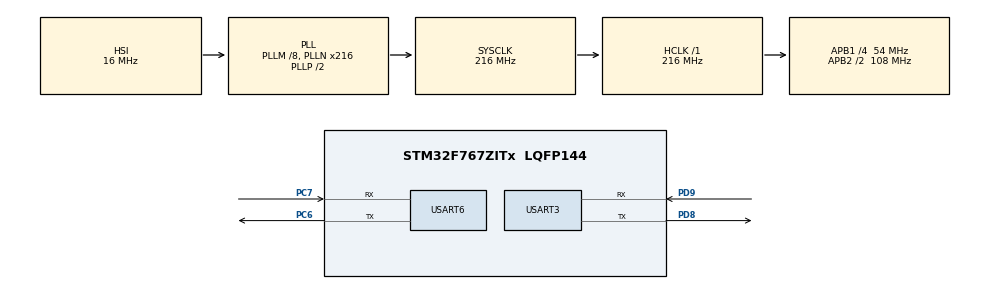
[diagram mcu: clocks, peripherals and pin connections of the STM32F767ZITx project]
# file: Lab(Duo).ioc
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CORTEX_M7.default_mode_Activation=1
Mcu.Family=STM32F7
Mcu.Name=STM32F767ZITx
Mcu.Package=LQFP144
NVIC.PriorityGroup=NVIC_PRIORITYGROUP_4
NVIC.USART3_IRQn=true\:1\:0\:true\:false\:true\:true\:true\:true
NVIC.USART6_IRQn=true\:1\:0\:true\:false\:true\:true\:true\:true
PC6.Mode=Asynchronous
PC6.Signal=USART6_TX
PC7.Mode=Asynchronous
PC7.Signal=USART6_RX
PD8.Mode=Asynchronous
PD8.Signal=USART3_TX
PD9.Mode=Asynchronous
PD9.Signal=USART3_RX
ProjectManager.HeapSize=0x200
ProjectManager.StackSize=0x400
ProjectManager.TargetToolchain=STM32CubeIDE
RCC.AHBFreq_Value=216000000
RCC.APB1CLKDivider=RCC_HCLK_DIV4
RCC.APB1Freq_Value=54000000
RCC.APB1TimFreq_Value=108000000
RCC.APB2CLKDivider=RCC_HCLK_DIV2
RCC.APB2Freq_Value=108000000
RCC.APB2TimFreq_Value=216000000
RCC.CortexFreq_Value=216000000
RCC.HCLKFreq_Value=216000000
RCC.HSE_VALUE=25000000
RCC.HSI_VALUE=16000000
RCC.LSE_VALUE=32768
RCC.PLLM=8
RCC.PLLN=216
RCC.SYSCLKFreq_VALUE=216000000
RCC.SYSCLKSource=RCC_SYSCLKSOURCE_PLLCLK
RCC.USBFreq_Value=216000000
RCC.VCOOutputFreq_Value=432000000
USART3.VirtualMode-Asynchronous=VM_ASYNC
USART6.VirtualMode-Asynchronous=VM_ASYNC
board=custom

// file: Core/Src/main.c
/* USER CODE BEGIN Header */
/**
  ******************************************************************************
  * @file           : main.c
  * @brief          : Main program body
  ******************************************************************************
  * @attention
  *
  * Copyright (c) 2026 STMicroelectronics.
  * All rights reserved.
  *
  * This software is licensed under terms that can be found in the LICENSE file
  * in the root directory of this software component.
  * If no LICENSE file comes with this software, it is provided AS-IS.
  *
  ******************************************************************************
  */
/* USER CODE END Header */
#include "main.h"
#include "usart.h"
#include "gpio.h"

/* USER CODE BEGIN Includes */
#include "string.h"
#include "stdio.h"
/* USER CODE END Includes */

/* USER CODE BEGIN PD */
#define IS_UART1 0

#define BUF_SIZE 128
#define NAME_SIZE 32
/* USER CODE END PD */

/* USER CODE BEGIN PV */
uint8_t rx3_byte;
uint8_t rx6_byte;

uint8_t kb_buf[BUF_SIZE];
volatile uint16_t kb_idx = 0;
volatile uint8_t kb_ready = 0;

uint8_t remote_buf[BUF_SIZE];
volatile uint16_t remote_idx = 0;
volatile uint8_t remote_ready = 0;

char my_name[NAME_SIZE];
char other_name[NAME_SIZE];

volatile uint8_t my_turn = 0;
volatile uint8_t chat_ended = 0;
/* USER CODE END PV */

void SystemClock_Config(void);
static void MPU_Config(void);

/* USER CODE BEGIN 0 */
void send_str(UART_HandleTypeDef *huart, const char *s)
{
  HAL_UART_Transmit(huart, (uint8_t *)s, strlen(s), HAL_MAX_DELAY);
}

void send_line(UART_HandleTypeDef *huart, const char *s)
{
  send_str(huart, s);
  send_str(huart, "\r\n");
}

void read_line_from_keyboard(void)
{
  __disable_irq();
  kb_idx = 0;
  kb_ready = 0;
  __enable_irq();
  HAL_UART_Receive_IT(&huart3, &rx3_byte, 1);
  while (!kb_ready)
  {
  }
}

void wait_remote_line(void)
{
  __disable_irq();
  remote_idx = 0;
  remote_ready = 0;
  __enable_irq();
  HAL_UART_Receive_IT(&huart6, &rx6_byte, 1);
  while (!remote_ready && !chat_ended)
  {
  }
}
/* USER CODE END 0 */

int main(void)
{

  /* MPU Configuration--------------------------------------------------------*/
  MPU_Config();

  /* MCU Configuration--------------------------------------------------------*/

  /* Reset of all peripherals, Initializes the Flash interface and the Systick. */
  HAL_Init();

  /* Configure the system clock */
  SystemClock_Config();

  /* Initialize all configured peripherals */
  MX_GPIO_Init();
  MX_USART3_UART_Init();
  MX_USART6_UART_Init();
  /* USER CODE BEGIN 2 */
  HAL_UART_Receive_IT(&huart3, &rx3_byte, 1);

#if IS_UART1
  send_line(&huart3, "Man from U.A.R.T.1!");
#else
  send_line(&huart3, "Man from U.A.R.T.2!");
#endif
  send_line(&huart3, "Quit PRESS q");

#if IS_UART1
  send_str(&huart3, "    Name: ");
  read_line_from_keyboard();
  memcpy(my_name, kb_buf, kb_idx);
  my_name[kb_idx] = '\0';
  send_str(&huart3, "\r\n");

  send_str(&huart6, my_name);
  send_str(&huart6, "\r");

  HAL_UART_Receive_IT(&huart6, &rx6_byte, 1);
  wait_remote_line();
  memcpy(other_name, remote_buf, remote_idx);
  other_name[remote_idx] = '\0';

  char tmp[64];
  snprintf(tmp, sizeof(tmp), "    %s is ready", other_name);
  send_line(&huart3, tmp);

  my_turn = 1;
#else
  HAL_UART_Receive_IT(&huart6, &rx6_byte, 1);
  wait_remote_line();
  memcpy(other_name, remote_buf, remote_idx);
  other_name[remote_idx] = '\0';

  char tmp[64];
  snprintf(tmp, sizeof(tmp), "    %s is ready", other_name);
  send_line(&huart3, tmp);

  send_str(&huart3, "    Name: ");
  read_line_from_keyboard();
  memcpy(my_name, kb_buf, kb_idx);
  my_name[kb_idx] = '\0';
  send_str(&huart3, "\r\n");

  send_str(&huart6, my_name);
  send_str(&huart6, "\r");

  my_turn = 0;
#endif
  /* USER CODE END 2 */

  /* Infinite loop */
  while (1)
  {

    /* USER CODE BEGIN 3 */
    if (chat_ended) break;

    if (my_turn)
    {
      char prompt[64];
      snprintf(prompt, sizeof(prompt), "    %s => ", my_name);
      send_str(&huart3, prompt);

      read_line_from_keyboard();
      send_str(&huart3, "\r\n");

      if (kb_idx == 1 && kb_buf[0] == 'q')
      {
        send_str(&huart6, "q\r");
        send_line(&huart3, "    Chat ended.");
        chat_ended = 1;
        break;
      }

      HAL_UART_Transmit(&huart6, kb_buf, kb_idx, HAL_MAX_DELAY);
      send_str(&huart6, "\r");

      my_turn = 0;
    }
    else
    {
      wait_remote_line();
      if (chat_ended) break;

      if (remote_idx == 1 && remote_buf[0] == 'q')
      {
        send_line(&huart3, "    Chat ended by other side.");
        chat_ended = 1;
        break;
      }

      char line[BUF_SIZE + NAME_SIZE + 16];
      remote_buf[remote_idx] = '\0';
      snprintf(line, sizeof(line), "    %s : %s", other_name, (char *)remote_buf);
      send_line(&huart3, line);

      my_turn = 1;
    }
  }

  while (1) {}
  /* USER CODE END 3 */
}

void SystemClock_Config(void)
{
  RCC_OscInitTypeDef RCC_OscInitStruct = {0};
  RCC_ClkInitTypeDef RCC_ClkInitStruct = {0};

  /** Configure the main internal regulator output voltage
  */
  __HAL_RCC_PWR_CLK_ENABLE();
  __HAL_PWR_VOLTAGESCALING_CONFIG(PWR_REGULATOR_VOLTAGE_SCALE1);

  /** Initializes the RCC Oscillators according to the specified parameters
  * in the RCC_OscInitTypeDef structure.
  */
  RCC_OscInitStruct.OscillatorType = RCC_OSCILLATORTYPE_HSI;
  RCC_OscInitStruct.HSIState = RCC_HSI_ON;
  RCC_OscInitStruct.HSICalibrationValue = RCC_HSICALIBRATION_DEFAULT;
  RCC_OscInitStruct.PLL.PLLState = RCC_PLL_ON;
  RCC_OscInitStruct.PLL.PLLSource = RCC_PLLSOURCE_HSI;
  RCC_OscInitStruct.PLL.PLLM = 8;
  RCC_OscInitStruct.PLL.PLLN = 216;
  RCC_OscInitStruct.PLL.PLLP = RCC_PLLP_DIV2;
  RCC_OscInitStruct.PLL.PLLQ = 2;
  RCC_OscInitStruct.PLL.PLLR = 2;
  if (HAL_RCC_OscConfig(&RCC_OscInitStruct) != HAL_OK)
  {
    Error_Handler();
  }

  /** Activate the Over-Drive mode
  */
  if (HAL_PWREx_EnableOverDrive() != HAL_OK)
  {
    Error_Handler();
  }

  /** Initializes the CPU, AHB and APB buses clocks
  */
  RCC_ClkInitStruct.ClockType = RCC_CLOCKTYPE_HCLK|RCC_CLOCKTYPE_SYSCLK
                              |RCC_CLOCKTYPE_PCLK1|RCC_CLOCKTYPE_PCLK2;
  RCC_ClkInitStruct.SYSCLKSource = RCC_SYSCLKSOURCE_PLLCLK;
  RCC_ClkInitStruct.AHBCLKDivider = RCC_SYSCLK_DIV1;
  RCC_ClkInitStruct.APB1CLKDivider = RCC_HCLK_DIV4;
  RCC_ClkInitStruct.APB2CLKDivider = RCC_HCLK_DIV2;

  if (HAL_RCC_ClockConfig(&RCC_ClkInitStruct, FLASH_LATENCY_7) != HAL_OK)
  {
    Error_Handler();
  }
}

/* USER CODE BEGIN 4 */
void HAL_UART_RxCpltCallback(UART_HandleTypeDef *huart)
{
  if (huart->Instance == USART3)
  {
    if (rx3_byte == '\r' || rx3_byte == '\n')
    {
      kb_ready = 1;
    }
    else if (rx3_byte == 0x08 || rx3_byte == 0x7F)
    {
      if (kb_idx > 0)
      {
        kb_idx--;
        uint8_t bs[] = {0x08, ' ', 0x08};
        HAL_UART_Transmit(&huart3, bs, 3, HAL_MAX_DELAY);
      }
    }
    else
    {
      HAL_UART_Transmit(&huart3, &rx3_byte, 1, HAL_MAX_DELAY);
      if (kb_idx < BUF_SIZE - 1)
      {
        kb_buf[kb_idx++] = rx3_byte;
      }
    }
    HAL_UART_Receive_IT(&huart3, &rx3_byte, 1);
  }
  else if (huart->Instance == USART6)
  {
    if (rx6_byte == '\r' || rx6_byte == '\n')
    {
      remote_ready = 1;
    }
    else
    {
      if (remote_idx < BUF_SIZE - 1)
      {
        remote_buf[remote_idx++] = rx6_byte;
      }
    }
    HAL_UART_Receive_IT(&huart6, &rx6_byte, 1);
  }
}
/* USER CODE END 4 */

 /* MPU Configuration */

void MPU_Config(void)
{
  MPU_Region_InitTypeDef MPU_InitStruct = {0};

  /* Disables the MPU */
  HAL_MPU_Disable();

  /** Initializes and configures the Region and the memory to be protected
  */
  MPU_InitStruct.Enable = MPU_REGION_ENABLE;
  MPU_InitStruct.Number = MPU_REGION_NUMBER0;
  MPU_InitStruct.BaseAddress = 0x0;
  MPU_InitStruct.Size = MPU_REGION_SIZE_4GB;
  MPU_InitStruct.SubRegionDisable = 0x87;
  MPU_InitStruct.TypeExtField = MPU_TEX_LEVEL0;
  MPU_InitStruct.AccessPermission = MPU_REGION_NO_ACCESS;
  MPU_InitStruct.DisableExec = MPU_INSTRUCTION_ACCESS_DISABLE;
  MPU_InitStruct.IsShareable = MPU_ACCESS_SHAREABLE;
  MPU_InitStruct.IsCacheable = MPU_ACCESS_NOT_CACHEABLE;
  MPU_InitStruct.IsBufferable = MPU_ACCESS_NOT_BUFFERABLE;

  HAL_MPU_ConfigRegion(&MPU_InitStruct);
  /* Enables the MPU */
  HAL_MPU_Enable(MPU_PRIVILEGED_DEFAULT);

}

void Error_Handler(void)
{
  __disable_irq();
  while (1)
  {
  }
}
